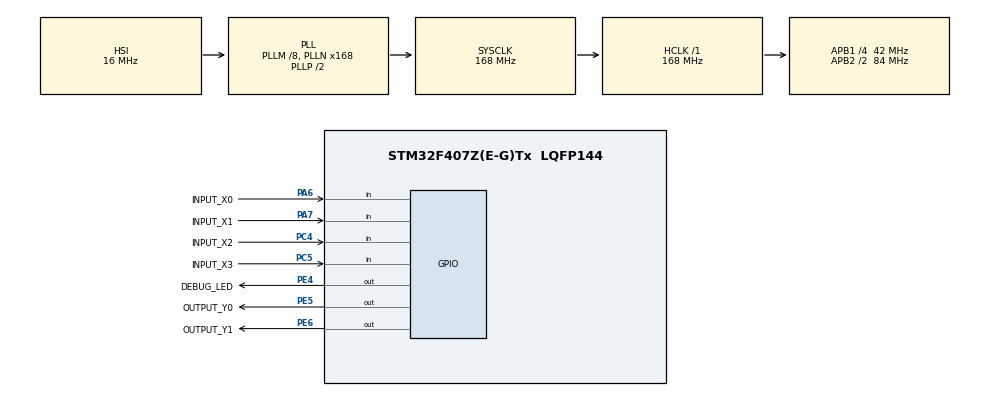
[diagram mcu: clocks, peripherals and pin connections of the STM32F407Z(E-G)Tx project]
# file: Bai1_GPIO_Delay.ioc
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Mcu.Family=STM32F4
Mcu.Name=STM32F407Z(E-G)Tx
Mcu.Package=LQFP144
NVIC.PriorityGroup=NVIC_PRIORITYGROUP_4
PA13.Mode=Serial_Wire
PA13.Signal=SYS_JTMS-SWDIO
PA14.Mode=Serial_Wire
PA14.Signal=SYS_JTCK-SWCLK
PA6.GPIO_Label=INPUT_X0
PA6.Signal=GPIO_Input
PA7.GPIO_Label=INPUT_X1
PA7.Signal=GPIO_Input
PC4.GPIO_Label=INPUT_X2
PC4.Signal=GPIO_Input
PC5.GPIO_Label=INPUT_X3
PC5.Signal=GPIO_Input
PE4.GPIO_Label=DEBUG_LED
PE4.Signal=GPIO_Output
PE5.GPIO_Label=OUTPUT_Y0
PE5.Signal=GPIO_Output
PE6.GPIO_Label=OUTPUT_Y1
PE6.Signal=GPIO_Output
PH0-OSC_IN.Mode=HSE-External-Oscillator
PH0-OSC_IN.Signal=RCC_OSC_IN
PH1-OSC_OUT.Mode=HSE-External-Oscillator
PH1-OSC_OUT.Signal=RCC_OSC_OUT
ProjectManager.HeapSize=0x200
ProjectManager.StackSize=0x400
ProjectManager.TargetToolchain=STM32CubeIDE
RCC.48MHZClocksFreq_Value=84000000
RCC.AHBFreq_Value=168000000
RCC.APB1CLKDivider=RCC_HCLK_DIV4
RCC.APB1Freq_Value=42000000
RCC.APB1TimFreq_Value=84000000
RCC.APB2CLKDivider=RCC_HCLK_DIV2
RCC.APB2Freq_Value=84000000
RCC.APB2TimFreq_Value=168000000
RCC.CortexFreq_Value=168000000
RCC.HCLKFreq_Value=168000000
RCC.HSE_VALUE=8000000
RCC.HSI_VALUE=16000000
RCC.LSE_VALUE=32768
RCC.PLLM=8
RCC.PLLN=168
RCC.SYSCLKFreq_VALUE=168000000
RCC.SYSCLKSource=RCC_SYSCLKSOURCE_PLLCLK
RCC.VCOOutputFreq_Value=336000000
board=custom

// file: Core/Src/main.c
/* USER CODE BEGIN Header */
/**
  ******************************************************************************
  * @file           : main.c
  * @brief          : Main program body
  ******************************************************************************
  * @attention
  *
  * <h2><center>&copy; Copyright (c) 2023 STMicroelectronics.
  * All rights reserved.</center></h2>
  *
  * This software component is licensed by ST under BSD 3-Clause license,
  * the "License"; You may not use this file except in compliance with the
  * License. You may obtain a copy of the License at:
  *                        opensource.org/licenses/BSD-3-Clause
  *
  ******************************************************************************
  */
/* USER CODE END Header */
#include "main.h"
#include "gpio.h"

void SystemClock_Config(void);

int main(void)
{
  /* USER CODE BEGIN 1 */
	int counter  = 0;
	typedef enum{
		RED,
		GREEN,
		YELLOW
	} TrafficlightState;
	TrafficlightState currentState = RED;

  /* USER CODE END 1 */

  /* MCU Configuration--------------------------------------------------------*/

  /* Reset of all peripherals, Initializes the Flash interface and the Systick. */
  HAL_Init();

  /* Configure the system clock */
  SystemClock_Config();

  /* Initialize all configured peripherals */
  MX_GPIO_Init();
  /* USER CODE BEGIN 2 */
  //setup code

  /* USER CODE END 2 */

  /* Infinite loop */
  /* USER CODE BEGIN WHILE */
  // loop
  while (1)
  {
	  switch (currentState) {
	          case RED:
	              // Bật đèn đỏ, tắt các đèn khác
	              HAL_GPIO_WritePin(OUTPUT_Y0_GPIO_Port, OUTPUT_Y0_Pin, GPIO_PIN_SET);
	              HAL_GPIO_WritePin(OUTPUT_Y1_GPIO_Port, OUTPUT_Y1_Pin, GPIO_PIN_SET);
	              HAL_GPIO_WritePin(DEBUG_LED_GPIO_Port, DEBUG_LED_Pin, GPIO_PIN_SET);
	              if (counter >= 5) { // 5 giây cho đèn đỏ
	                  currentState = GREEN;
	                  counter = 0; // Đặt lại đếm
	              }
	              break;
	          case GREEN:
	              // Bật đèn xanh, tắt các đèn khác
	              HAL_GPIO_WritePin(OUTPUT_Y0_GPIO_Port, OUTPUT_Y0_Pin, GPIO_PIN_RESET);
	              HAL_GPIO_WritePin(OUTPUT_Y1_GPIO_Port, OUTPUT_Y1_Pin, GPIO_PIN_SET);
	              HAL_GPIO_WritePin(DEBUG_LED_GPIO_Port, DEBUG_LED_Pin, GPIO_PIN_RESET);
	              if (counter >= 3) { // 3 giây cho đèn xanh
	                  currentState = YELLOW;
	                  counter = 0; // Đặt lại đếm
	              }
	              break;
	          case YELLOW:
	              // Bật đèn vàng, tắt các đèn khác
	              HAL_GPIO_WritePin(OUTPUT_Y0_GPIO_Port, OUTPUT_Y0_Pin, GPIO_PIN_RESET);
	              HAL_GPIO_WritePin(OUTPUT_Y1_GPIO_Port, OUTPUT_Y1_Pin, GPIO_PIN_RESET);
	              HAL_GPIO_WritePin(DEBUG_LED_GPIO_Port, DEBUG_LED_Pin, GPIO_PIN_SET);
	              if (counter >= 1) { // 1 giây cho đèn vàng
	                  currentState = RED;
	                  counter = 0; // Đặt lại đếm
	              }
	              break;
	      }

	  HAL_Delay(1000);
	  counter++;

    /* USER CODE END WHILE */

  }
}

void SystemClock_Config(void)
{
  RCC_OscInitTypeDef RCC_OscInitStruct = {0};
  RCC_ClkInitTypeDef RCC_ClkInitStruct = {0};

  /** Configure the main internal regulator output voltage
  */
  __HAL_RCC_PWR_CLK_ENABLE();
  __HAL_PWR_VOLTAGESCALING_CONFIG(PWR_REGULATOR_VOLTAGE_SCALE1);

  /** Initializes the RCC Oscillators according to the specified parameters
  * in the RCC_OscInitTypeDef structure.
  */
  RCC_OscInitStruct.OscillatorType = RCC_OSCILLATORTYPE_HSI;
  RCC_OscInitStruct.HSIState = RCC_HSI_ON;
  RCC_OscInitStruct.HSICalibrationValue = RCC_HSICALIBRATION_DEFAULT;
  RCC_OscInitStruct.PLL.PLLState = RCC_PLL_ON;
  RCC_OscInitStruct.PLL.PLLSource = RCC_PLLSOURCE_HSI;
  RCC_OscInitStruct.PLL.PLLM = 8;
  RCC_OscInitStruct.PLL.PLLN = 168;
  RCC_OscInitStruct.PLL.PLLP = RCC_PLLP_DIV2;
  RCC_OscInitStruct.PLL.PLLQ = 4;
  if (HAL_RCC_OscConfig(&RCC_OscInitStruct) != HAL_OK)
  {
    Error_Handler();
  }

  /** Initializes the CPU, AHB and APB buses clocks
  */
  RCC_ClkInitStruct.ClockType = RCC_CLOCKTYPE_HCLK|RCC_CLOCKTYPE_SYSCLK
                              |RCC_CLOCKTYPE_PCLK1|RCC_CLOCKTYPE_PCLK2;
  RCC_ClkInitStruct.SYSCLKSource = RCC_SYSCLKSOURCE_PLLCLK;
  RCC_ClkInitStruct.AHBCLKDivider = RCC_SYSCLK_DIV1;
  RCC_ClkInitStruct.APB1CLKDivider = RCC_HCLK_DIV4;
  RCC_ClkInitStruct.APB2CLKDivider = RCC_HCLK_DIV2;

  if (HAL_RCC_ClockConfig(&RCC_ClkInitStruct, FLASH_LATENCY_5) != HAL_OK)
  {
    Error_Handler();
  }
}

void Error_Handler(void)
{
  __disable_irq();
  while (1)
  {
  }
}
